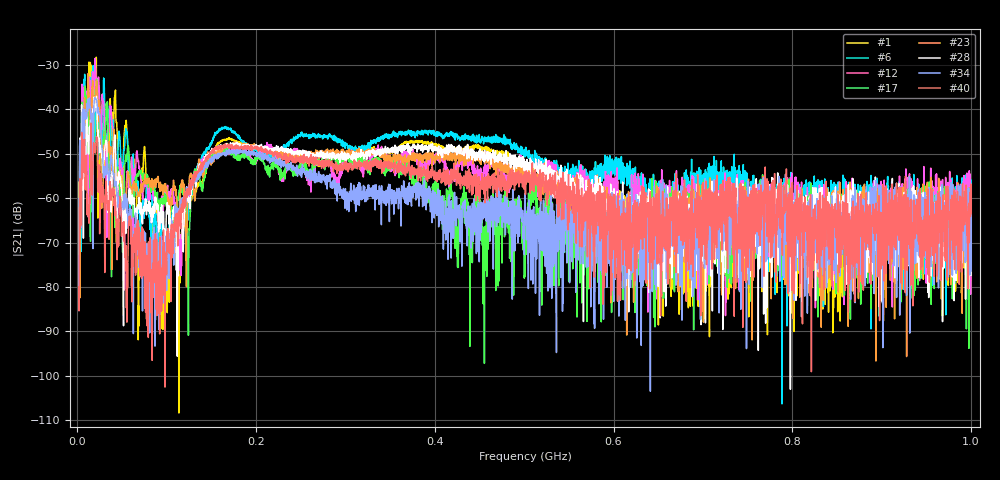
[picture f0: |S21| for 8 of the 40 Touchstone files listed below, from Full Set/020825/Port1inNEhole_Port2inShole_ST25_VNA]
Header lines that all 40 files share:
!Keysight Technologies N9923A: A.12.45
!Timezone: (UTC+08:00) Kuala Lumpur, Singapore
!Model: N9923A
!Serial: MY61181427
!GPS Latitude:
!GPS Longitude:
!GPS TimeStamp: 0001-01-01 00:00:00Z
!GPS Seconds Since Last Read: 0
!Correction: S11(ON U)S21(ON U)S12(ON U)S22(ON U)
!S2P File: Measurements:S11,S21,S12,S22:
# Hz S DB R 50
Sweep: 2 MHz to 1 GHz
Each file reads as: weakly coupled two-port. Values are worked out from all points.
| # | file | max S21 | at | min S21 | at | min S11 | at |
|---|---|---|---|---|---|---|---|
| 1 | aug2_2m.s2p | -28.24 dB | 21.21 MHz | -108.4 dB | 113.8 MHz | -27.5 dB | 189.4 MHz |
| 2 | aug2_3m.s2p | -25.95 dB | 21.71 MHz | -102.5 dB | 928.9 MHz | -26.9 dB | 186.1 MHz |
| 3 | aug2_4m.s2p | -29.67 dB | 11.73 MHz | -99.7 dB | 842.6 MHz | -27.8 dB | 186.1 MHz |
| 4 | aug2_5m.s2p | -30.47 dB | 11.73 MHz | -92.9 dB | 945.9 MHz | -27.3 dB | 186.1 MHz |
| 5 | aug2_6m.s2p | -28.68 dB | 21.21 MHz | -91.5 dB | 970.8 MHz | -28.0 dB | 186.1 MHz |
| 6 | aug2_7m.s2p | -30.13 dB | 17.97 MHz | -106.3 dB | 788.4 MHz | -28.4 dB | 186.1 MHz |
| 7 | aug2_8m.s2p | -30.13 dB | 17.97 MHz | -94.7 dB | 101.6 MHz | -28.4 dB | 182.9 MHz |
| 8 | aug2_9m.s2p | -29.90 dB | 26.2 MHz | -86.3 dB | 906.4 MHz | -27.7 dB | 182.9 MHz |
| 9 | aug2_10m.s2p | -29.70 dB | 17.72 MHz | -95.6 dB | 826.3 MHz | -27.9 dB | 182.9 MHz |
| 10 | aug2_11m.s2p | -29.30 dB | 20.46 MHz | -93.1 dB | 938.6 MHz | -29.4 dB | 182.9 MHz |
| 11 | aug2_12m.s2p | -28.45 dB | 20.46 MHz | -94.1 dB | 950.3 MHz | -29.0 dB | 182.9 MHz |
| 12 | aug2_13m.s2p | -28.52 dB | 19.96 MHz | -86.6 dB | 828.6 MHz | -28.1 dB | 182.9 MHz |
| 13 | aug2_14m.s2p | -29.22 dB | 19.96 MHz | -98.2 dB | 858.5 MHz | -28.2 dB | 182.9 MHz |
| 14 | aug2_15m.s2p | -29.02 dB | 23.71 MHz | -102.9 dB | 903.4 MHz | -29.2 dB | 182.9 MHz |
| 15 | aug2_16m.s2p | -27.26 dB | 23.71 MHz | -93.2 dB | 897.2 MHz | -29.1 dB | 182.9 MHz |
| 16 | aug2_17m.s2p | -30.96 dB | 21.46 MHz | -93.7 dB | 855.8 MHz | -29.2 dB | 182.9 MHz |
| 17 | aug2_18m.s2p | -33.21 dB | 21.71 MHz | -97.2 dB | 455.6 MHz | -28.9 dB | 182.9 MHz |
| 18 | aug2_19m.s2p | -32.76 dB | 13.23 MHz | -97.8 dB | 969.8 MHz | -29.0 dB | 182.9 MHz |
| 19 | aug2_20m.s2p | -31.73 dB | 13.23 MHz | -98.0 dB | 805.4 MHz | -29.0 dB | 182.9 MHz |
| 20 | aug2_21m.s2p | -31.83 dB | 12.73 MHz | -121.4 dB | 58.64 MHz | -29.3 dB | 182.9 MHz |
| 21 | aug2_22m.s2p | -31.91 dB | 12.73 MHz | -94.9 dB | 844.8 MHz | -29.1 dB | 182.9 MHz |
| 22 | aug2_23m.s2p | -31.62 dB | 21.96 MHz | -100.3 dB | 814.4 MHz | -28.8 dB | 182.9 MHz |
| 23 | aug2_24m.s2p | -31.93 dB | 12.23 MHz | -96.7 dB | 893.5 MHz | -28.7 dB | 182.9 MHz |
| 24 | aug2_25m.s2p | -32.24 dB | 12.23 MHz | -97.1 dB | 625.3 MHz | -28.6 dB | 182.9 MHz |
| 25 | aug2_26m.s2p | -32.97 dB | 19.22 MHz | -94.6 dB | 722.8 MHz | -28.6 dB | 182.9 MHz |
| 26 | aug2_27m.s2p | -31.86 dB | 18.72 MHz | -98.1 dB | 897 MHz | -29.0 dB | 182.9 MHz |
| 27 | aug2_28m.s2p | -33.76 dB | 18.97 MHz | -96.6 dB | 955.3 MHz | -29.3 dB | 182.9 MHz |
| 28 | aug2_29m.s2p | -37.06 dB | 21.71 MHz | -103.0 dB | 797.9 MHz | -29.0 dB | 182.9 MHz |
| 29 | aug2_30m.s2p | -39.55 dB | 5.742 MHz | -93.8 dB | 642.2 MHz | -29.5 dB | 182.9 MHz |
| 30 | aug2_31m.s2p | -38.53 dB | 5.742 MHz | -100.3 dB | 884.7 MHz | -29.2 dB | 182.9 MHz |
| 31 | aug2_32m.s2p | -39.38 dB | 5.742 MHz | -94.7 dB | 672.9 MHz | -29.0 dB | 182.9 MHz |
| 32 | aug2_33m.s2p | -34.05 dB | 18.97 MHz | -94.6 dB | 65.87 MHz | -29.2 dB | 182.9 MHz |
| 33 | aug2_34m.s2p | -35.43 dB | 19.71 MHz | -107.5 dB | 806.6 MHz | -29.0 dB | 182.9 MHz |
| 34 | aug2_35m.s2p | -37.36 dB | 19.71 MHz | -103.5 dB | 641.2 MHz | -29.1 dB | 181.1 MHz |
| 35 | aug2_36m.s2p | -36.71 dB | 13.98 MHz | -103.2 dB | 879.5 MHz | -29.2 dB | 181.1 MHz |
| 36 | aug2_37m.s2p | -37.34 dB | 13.98 MHz | -98.1 dB | 92.57 MHz | -29.9 dB | 412.2 MHz |
| 37 | aug2_38m.s2p | -37.77 dB | 13.73 MHz | -97.3 dB | 927.4 MHz | -29.9 dB | 181.1 MHz |
| 38 | aug2_39m.s2p | -42.99 dB | 22.96 MHz | -96.6 dB | 948.6 MHz | -32.4 dB | 181.1 MHz |
| 39 | aug2_40m.s2p | -43.05 dB | 22.46 MHz | -93.0 dB | 89.57 MHz | -32.6 dB | 181.1 MHz |
| 40 | aug2_41m.s2p | -43.07 dB | 15.47 MHz | -102.5 dB | 98.31 MHz | -32.6 dB | 181.1 MHz |
